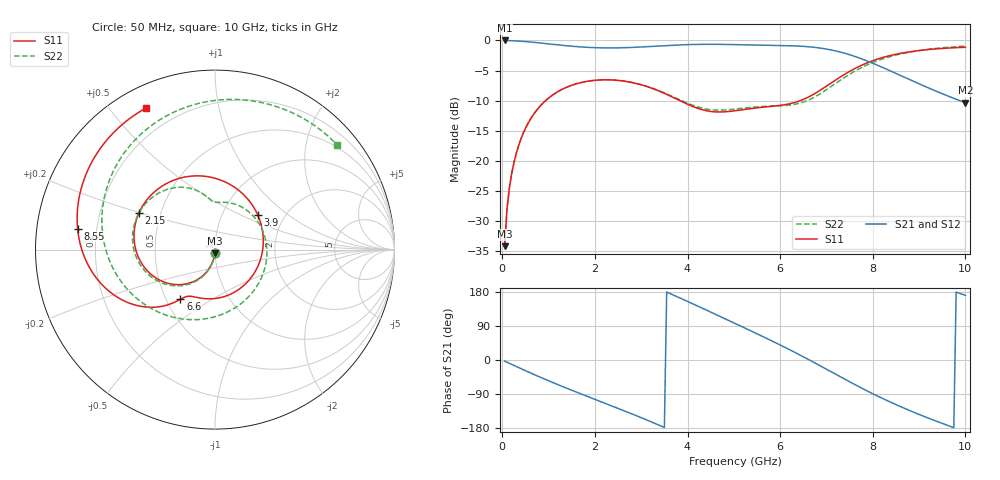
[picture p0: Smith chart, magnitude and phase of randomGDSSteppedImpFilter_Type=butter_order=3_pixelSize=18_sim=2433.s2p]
! freq	dB(S11)	phase(S11)	dB(S12)	phase(S12)
!  dB(S21)	phase(S21)	dB(S22)	phase(S22)
!S-par simulation data
#  GHz  S  DB  R 50
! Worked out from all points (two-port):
!   200 points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, 50 MHz to 10 GHz, reference 50 ohm
!   highest |S21| = -0.01 dB at 50 MHz (marker M1); lowest = -10.3 dB at 10 GHz (marker M2)
!   |S21| within 3 dB of the highest: start of sweep to 7.741 GHz
!   lowest |S11| = -34.2 dB at 50 MHz (marker M3), VSWR 1.04, Z = 49.9 - j1.95 ohm
!   |S11| at or under -10 dB: start of sweep to 935.2 MHz; 3.833 GHz to 6.436 GHz (2.602 GHz wide, 50.7 % of centre)
!   |S22| runs from -34.2 to -0.9 dB; largest |S21 - S12| = 0
!   S11 on the Smith chart (normalised r, x): 50 MHz: 1.00, -0.04; 2.15 GHz: 0.38, +0.20; 3.9 GHz: 1.46, +0.63; 6.6 GHz: 0.59, -0.37; 8.55 GHz: 0.13, +0.08; 10 GHz: 0.09, +0.62
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0.05  -34.17 -92.8  -0.01 -2.9  -0.01 -2.9  -34.15 -92.8
0.1  -28.14 -96.0  -0.02 -5.7  -0.02 -5.7  -28.14 -95.8
0.2  -22.24 -102.1  -0.04 -11.4  -0.04 -11.4  -22.21 -101.9
0.5  -14.61 -119.1  -0.19 -28.2  -0.19 -28.2  -14.59 -118.0
1.1  -8.99 -151.9  -0.66 -60.0  -0.66 -60.0  -8.99 -149.2
1.75  -6.91 174.7  -1.11 -91.9  -1.11 -91.9  -6.91 -179.5
2.15  -6.55 154.2  -1.23 -110.9  -1.23 -110.9  -6.55 163.1
2.8  -7.00 118.6  -1.17 -142.2  -1.17 -142.2  -6.98 136.5
3.4  -8.46 79.7  -0.92 -172.7  -0.92 -172.7  -8.40 114.8
3.9  -10.24 39.5  -0.73 160.2  -0.73 160.2  -10.09 101.4
4.5  -11.80 -18.2  -0.64 126.5  -0.64 126.5  -11.51 91.7
5.05  -11.66 -66.9  -0.70 95.1  -0.70 95.1  -11.39 77.7
5.75  -11.00 -106.7  -0.80 54.6  -0.80 54.6  -10.93 37.4
6.6  -9.45 -124.8  -1.05 2.1  -1.05 2.1  -9.95 -50.2
6.7  -9.04 -126.2  -1.12 -4.4  -1.12 -4.4  -9.58 -62.4
7.05  -7.33 -132.8  -1.50 -27.6  -1.50 -27.6  -7.92 -103.9
7.4  -5.59 -143.2  -2.14 -50.9  -2.14 -50.9  -6.10 -141.5
7.9  -3.66 -162.3  -3.48 -82.9  -3.48 -82.9  -3.99 172.3
8.35  -2.56 179.4  -4.96 -109.4  -4.96 -109.4  -2.74 137.1
8.55  -2.22 171.3  -5.65 -120.5  -5.65 -120.5  -2.34 123.0
9.2  -1.52 145.9  -7.88 -153.4  -7.88 -153.4  -1.47 82.4
10  -1.14 116.1  -10.34 170.6  -10.34 170.6  -0.95 40.6
